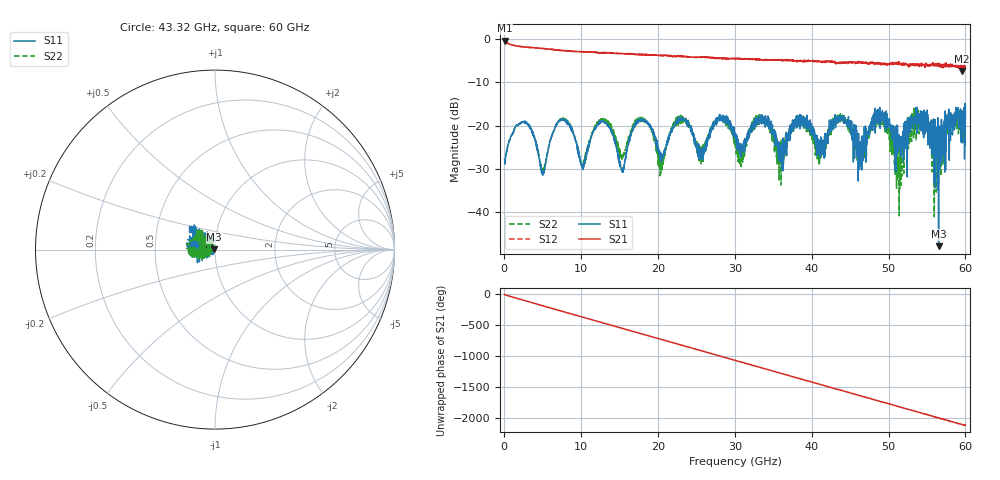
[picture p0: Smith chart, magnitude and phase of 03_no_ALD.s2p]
! File created by 'SoftPlot +Plus+ Measurement Management Software'
! SoftPlot +Plus+ Measurement Management Software
! Start 40.000000 MHz  Stop 60.000000 GHz  Points 1601
# MHZ S RI R 50
! S-Parameter data, F S11 S21 S12 S22
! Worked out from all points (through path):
!   1601 points, 40 MHz to 60 GHz, reference 50 ohm
!   highest |S21| = -0.38 dB at 40 MHz (marker M1); lowest = -7.4 dB at 59.51 GHz (marker M2)
!   group delay of S21, straight-line fit = 98.2 ps
!   lowest |S11| = -47.8 dB at 56.51 GHz (marker M3), VSWR 1.01, Z = 49.6 + j0.13 ohm
!   |S11| at or under -10 dB: start of sweep to end of sweep
!   |S22| runs from -41.0 to -16.0 dB; largest |S21 - S12| = 0.071
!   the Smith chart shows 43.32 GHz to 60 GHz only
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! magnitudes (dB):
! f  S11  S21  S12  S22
! 40 MHz  -27.8  -0.4  -0.4  -27.6
! 2.701 GHz  -19.0  -1.9  -1.9  -19.1
! 5.062 GHz  -31.3  -2.2  -2.2  -30.1
! 7.572 GHz  -18.7  -2.7  -2.6  -18.6
! 10.05 GHz  -29.1  -3.0  -3.0  -28.6
! 12.71 GHz  -19.0  -3.2  -3.2  -18.6
! 15.29 GHz  -30.1  -3.4  -3.4  -27.7
! 17.54 GHz  -19.1  -3.6  -3.6  -18.5
! 20.05 GHz  -26.1  -3.8  -3.8  -25.4
! 22.97 GHz  -18.2  -4.0  -4.0  -19.5
! 25.6 GHz  -26.3  -4.2  -4.2  -28.9
! 27.96 GHz  -17.7  -4.4  -4.4  -18.6
! 30.02 GHz  -22.3  -4.5  -4.5  -23.6
! 40.03 GHz  -20.5  -5.0  -5.1  -23.2
! 44.04 GHz  -18.5  -5.6  -5.6  -19.1
! 46.36 GHz  -23.7  -5.4  -5.3  -26.0
! 50.03 GHz  -19.1  -5.8  -5.8  -21.8
! 51.16 GHz  -20.0  -5.8  -5.7  -26.1
! 53.59 GHz  -19.6  -6.0  -5.7  -23.4
! 56.51 GHz  -47.8  -6.3  -5.8  -23.7
! 59.51 GHz  -16.6  -7.4  -6.2  -21.7
! 60 GHz  -15.2  -6.7  -6.3  -17.8
